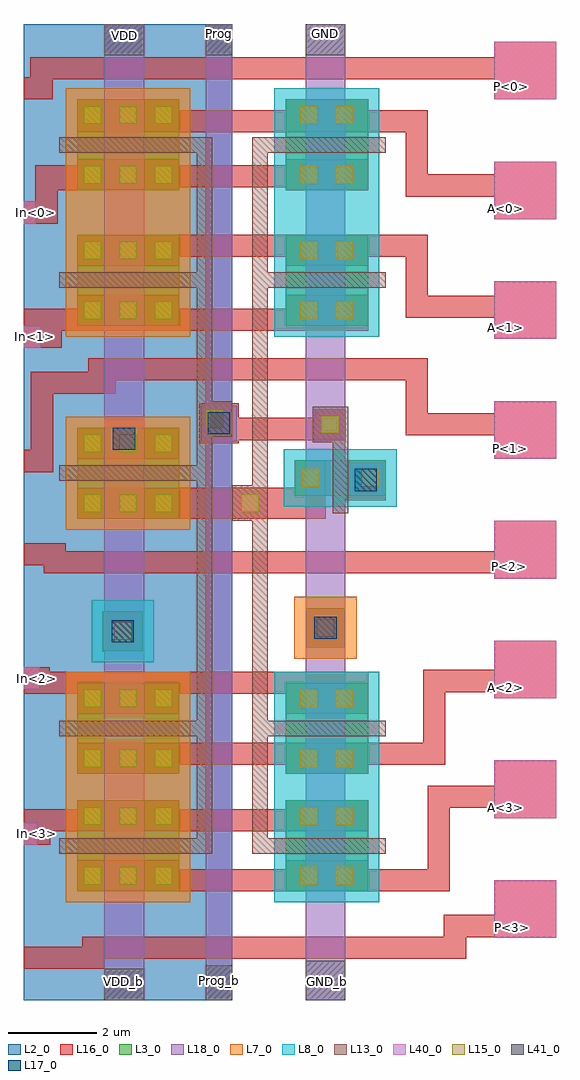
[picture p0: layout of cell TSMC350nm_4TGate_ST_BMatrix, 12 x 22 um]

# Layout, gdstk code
from math import pi, radians
import gdstk
lib = gdstk.Library(unit=1e-6, precision=1e-09)
def R(c, l, rs):  # rectangles x0, y0, x1, y1
    for r in rs: c.add(gdstk.rectangle(r[:2], r[2:], *l))
def A(c, l, x, y, w, h, nx, ny, dx, dy):  # array of equal rectangles
    R(c, l, [(x+i*dx, y+j*dy, x+i*dx+w, y+j*dy+h) for i in range(nx) for j in range(ny)])
L2_0 = (2, 0)
L3_0 = (3, 0)
L7_0 = (7, 0)
L8_0 = (8, 0)
L13_0 = (13, 0)
L15_0 = (15, 0)
L16_0 = (16, 0)
L17_0 = (17, 0)
L18_0 = (18, 0)
L40_0 = (40, 0)
L41_0 = (41, 0)

nch_cdns_745363897580 = lib.new_cell('nch_CDNS_745363897580')
R(nch_cdns_745363897580, L3_0, [(-0.85,0,-0.15,0.8), (-0.85,0,-0.15,0.8), (-0.15,0,0.5,0.8), (0.5,0,1.2,0.8), (0.5,0,1.2,0.8)])
R(nch_cdns_745363897580, L8_0, [(-1.1,-0.25,1.45,1.05)])
R(nch_cdns_745363897580, L13_0, [(0,-0.4,0.35,1.2)])
R(nch_cdns_745363897580, L15_0, [(-0.7,0.2,-0.3,0.6), (0.65,0.2,1.05,0.6)])
R(nch_cdns_745363897580, L16_0, [(-0.85,0,-0.15,0.8), (0.5,0,1.2,0.8)])
nch_cdns_745363897580.add(gdstk.Label('D', (0.85,0.4), layer=59, texttype=0))
nch_cdns_745363897580.add(gdstk.Label('S', (-0.5,0.4), layer=59, texttype=0))
nch_cdns_745363897580.add(gdstk.Label('G', (0.175,0.4), layer=59, texttype=0))
nch_cdns_745363897580.add(gdstk.Label('& SerialNumber 000000', (0,0), layer=16, texttype=0))
nch_cdns_745363897580.add(gdstk.Label('& Distributor VIS', (0,0), layer=16, texttype=0))
nch_cdns_745363897580.add(gdstk.Label('& Metric 1', (0,0), layer=16, texttype=0))
nch_cdns_745363897580.add(gdstk.Label('& Version    \t  1.7A', (0,0), layer=16, texttype=0))
nch_cdns_745363897580.add(gdstk.Label('& PDKName     vis35cv', (0,0), layer=16, texttype=0))
nch_cdns_745363897580.add(gdstk.Label('& Vendor VIS Corp.', (0,0), layer=16, texttype=0))
nch_cdns_745363897580.add(gdstk.Label('& SerialNumber 000000', (0,0), layer=63, texttype=63))
nch_cdns_745363897580.add(gdstk.Label('& Distributor VIS', (0,0), layer=63, texttype=63))
nch_cdns_745363897580.add(gdstk.Label('& Metric 1', (0,0), layer=63, texttype=63))
nch_cdns_745363897580.add(gdstk.Label('& Version    \t  1.7A', (0,0), layer=63, texttype=63))
nch_cdns_745363897580.add(gdstk.Label('& PDKName     vis35cv', (0,0), layer=63, texttype=63))
nch_cdns_745363897580.add(gdstk.Label('& Vendor VIS Corp.', (0,0), layer=63, texttype=63))

pch_cdns_745363897581 = lib.new_cell('pch_CDNS_745363897581')
R(pch_cdns_745363897581, L2_0, [(-2.05,-1.2,2.4,3.5)])
R(pch_cdns_745363897581, L3_0, [(-0.85,0,-0.15,2.3), (-0.85,0,-0.15,2.3), (-0.15,0,0.5,2.3), (0.5,0,1.2,2.3), (0.5,0,1.2,2.3)])
R(pch_cdns_745363897581, L7_0, [(-1.1,-0.25,1.45,2.55)])
R(pch_cdns_745363897581, L13_0, [(0,-0.4,0.35,2.7)])
A(pch_cdns_745363897581, L15_0, -0.7, 0.15, 0.4, 0.4, 1, 3, 0, 0.8)
A(pch_cdns_745363897581, L15_0, 0.65, 0.15, 0.4, 0.4, 1, 3, 0, 0.8)
R(pch_cdns_745363897581, L16_0, [(-0.85,0,-0.15,2.3), (0.5,0,1.2,2.3)])
pch_cdns_745363897581.add(gdstk.Label('D', (0.85,1.15), layer=59, texttype=0))
pch_cdns_745363897581.add(gdstk.Label('S', (-0.5,1.15), layer=59, texttype=0))
pch_cdns_745363897581.add(gdstk.Label('G', (0.175,1.15), layer=59, texttype=0))
pch_cdns_745363897581.add(gdstk.Label('& SerialNumber 000000', (0,0), layer=16, texttype=0))
pch_cdns_745363897581.add(gdstk.Label('& Distributor VIS', (0,0), layer=16, texttype=0))
pch_cdns_745363897581.add(gdstk.Label('& Metric 1', (0,0), layer=16, texttype=0))
pch_cdns_745363897581.add(gdstk.Label('& Version    \t  1.7A', (0,0), layer=16, texttype=0))
pch_cdns_745363897581.add(gdstk.Label('& PDKName     vis35cv', (0,0), layer=16, texttype=0))
pch_cdns_745363897581.add(gdstk.Label('& Vendor VIS Corp.', (0,0), layer=16, texttype=0))
pch_cdns_745363897581.add(gdstk.Label('& SerialNumber 000000', (0,0), layer=63, texttype=63))
pch_cdns_745363897581.add(gdstk.Label('& Distributor VIS', (0,0), layer=63, texttype=63))
pch_cdns_745363897581.add(gdstk.Label('& Metric 1', (0,0), layer=63, texttype=63))
pch_cdns_745363897581.add(gdstk.Label('& Version    \t  1.7A', (0,0), layer=63, texttype=63))
pch_cdns_745363897581.add(gdstk.Label('& PDKName     vis35cv', (0,0), layer=63, texttype=63))
pch_cdns_745363897581.add(gdstk.Label('& Vendor VIS Corp.', (0,0), layer=63, texttype=63))

nch_cdns_745363897582 = lib.new_cell('nch_CDNS_745363897582')
R(nch_cdns_745363897582, L3_0, [(-0.85,0,-0.15,1.86), (-0.85,0,-0.15,1.86), (-0.15,0,0.5,1.86), (0.5,0,1.2,1.86), (0.5,0,1.2,1.86)])
R(nch_cdns_745363897582, L8_0, [(-1.1,-0.25,1.45,2.11)])
R(nch_cdns_745363897582, L13_0, [(0,-0.4,0.35,2.26)])
R(nch_cdns_745363897582, L15_0, [(-0.7,0.33,-0.3,0.73), (0.65,0.33,1.05,0.73), (-0.7,1.13,-0.3,1.53), (0.65,1.13,1.05,1.53)])
R(nch_cdns_745363897582, L16_0, [(-0.85,0,-0.15,1.86), (0.5,0,1.2,1.86)])
nch_cdns_745363897582.add(gdstk.Label('D', (0.85,0.93), layer=59, texttype=0))
nch_cdns_745363897582.add(gdstk.Label('S', (-0.5,0.93), layer=59, texttype=0))
nch_cdns_745363897582.add(gdstk.Label('G', (0.175,0.93), layer=59, texttype=0))
nch_cdns_745363897582.add(gdstk.Label('& SerialNumber 000000', (0,0), layer=16, texttype=0))
nch_cdns_745363897582.add(gdstk.Label('& Distributor VIS', (0,0), layer=16, texttype=0))
nch_cdns_745363897582.add(gdstk.Label('& Metric 1', (0,0), layer=16, texttype=0))
nch_cdns_745363897582.add(gdstk.Label('& Version    \t  1.7A', (0,0), layer=16, texttype=0))
nch_cdns_745363897582.add(gdstk.Label('& PDKName     vis35cv', (0,0), layer=16, texttype=0))
nch_cdns_745363897582.add(gdstk.Label('& Vendor VIS Corp.', (0,0), layer=16, texttype=0))
nch_cdns_745363897582.add(gdstk.Label('& SerialNumber 000000', (0,0), layer=63, texttype=63))
nch_cdns_745363897582.add(gdstk.Label('& Distributor VIS', (0,0), layer=63, texttype=63))
nch_cdns_745363897582.add(gdstk.Label('& Metric 1', (0,0), layer=63, texttype=63))
nch_cdns_745363897582.add(gdstk.Label('& Version    \t  1.7A', (0,0), layer=63, texttype=63))
nch_cdns_745363897582.add(gdstk.Label('& PDKName     vis35cv', (0,0), layer=63, texttype=63))
nch_cdns_745363897582.add(gdstk.Label('& Vendor VIS Corp.', (0,0), layer=63, texttype=63))

m1_nactive_cdns_74536389 = lib.new_cell('M1_NACTIVE_CDNS_745363897580')
R(m1_nactive_cdns_74536389, L3_0, [(-0.45,-0.45,0.45,0.45)])
R(m1_nactive_cdns_74536389, L8_0, [(-0.7,-0.7,0.7,0.7)])
R(m1_nactive_cdns_74536389, L15_0, [(-0.2,-0.2,0.2,0.2)])
R(m1_nactive_cdns_74536389, L16_0, [(-0.35,-0.35,0.35,0.35)])

m2_m1_cdns_745363897581 = lib.new_cell('M2_M1_CDNS_745363897581')
R(m2_m1_cdns_745363897581, L16_0, [(-0.45,-0.45,0.45,0.45)])
R(m2_m1_cdns_745363897581, L17_0, [(-0.25,-0.25,0.25,0.25)])
R(m2_m1_cdns_745363897581, L18_0, [(-0.4,-0.4,0.4,0.4)])

m1_poly1_cdns_7453638975 = lib.new_cell('M1_POLY1_CDNS_745363897582')
R(m1_poly1_cdns_7453638975, L13_0, [(-0.4,-0.4,0.4,0.4)])
R(m1_poly1_cdns_7453638975, L15_0, [(-0.2,-0.2,0.2,0.2)])
R(m1_poly1_cdns_7453638975, L16_0, [(-0.35,-0.35,0.35,0.35)])

m1_pactive_cdns_74536389 = lib.new_cell('M1_PACTIVE_CDNS_745363897583')
R(m1_pactive_cdns_74536389, L3_0, [(-0.45,-0.45,0.45,0.45)])
R(m1_pactive_cdns_74536389, L7_0, [(-0.7,-0.7,0.7,0.7)])
R(m1_pactive_cdns_74536389, L15_0, [(-0.2,-0.2,0.2,0.2)])
R(m1_pactive_cdns_74536389, L16_0, [(-0.35,-0.35,0.35,0.35)])

tsmc350nm_4tgate_st_bmat = lib.new_cell('TSMC350nm_4TGate_ST_BMatrix')
R(tsmc350nm_4tgate_st_bmat, L2_0, [(0,0,4.7,1.47), (0,8.35,4.7,14.4), (0,19.25,4.7,22)])
R(tsmc350nm_4tgate_st_bmat, L7_0, [(0.95,4.75,3.75,4.85), (0.95,17.5,3.75,18)])
R(tsmc350nm_4tgate_st_bmat, L8_0, [(5.65,4.75,8.01,4.85), (5.65,17.5,8.01,18)])
R(tsmc350nm_4tgate_st_bmat, L13_0, [(3.9,3.3,4.25,11.86), (5.15,3.3,5.5,11.79), (5.15,11.79,5.5,19.45), (3.9,11.86,4.25,19.45)])
A(tsmc350nm_4tgate_st_bmat, L16_0, 10.6, 1.4, 1.4, 1.3, 1, 8, 0, 2.7)
R(tsmc350nm_4tgate_st_bmat, L16_0, [(0,3.5,0.6,3.8), (0,7.4,0.59,7.5), (1.45,13.66,2.07,14.47), (0,14.7,0.85,15.08), (0.76,18.25,1.2,18.32)])
R(tsmc350nm_4tgate_st_bmat, L18_0, [(7.25,11.32,7.51,12.12)])
A(tsmc350nm_4tgate_st_bmat, L40_0, 10.6, 1.4, 1.4, 1.3, 1, 8, 0, 2.7)
R(tsmc350nm_4tgate_st_bmat, L40_0, [(0,3.5,0.3,4), (0,7,0.36,7.5), (0,14.7,0.38,15.2), (0,17.5,0.27,18)])
R(tsmc350nm_4tgate_st_bmat, L41_0, [(1.81,0,2.71,0.71), (4.1,0,4.7,0.78), (6.35,0,7.25,0.88), (1.81,21.3,2.71,22), (4.1,21.3,4.7,22), (6.35,21.3,7.25,22)])
tsmc350nm_4tgate_st_bmat.add(gdstk.FlexPath([(10.61,18.36),(8.86,18.36)], 0.5, ends=(0, 0.25), simple_path=True, layer=16, datatype=0))  # L16_0
tsmc350nm_4tgate_st_bmat.add(gdstk.FlexPath([(8.86,18.36),(8.86,19.81)], 0.5, ends="extended", simple_path=True, layer=16, datatype=0))  # L16_0
tsmc350nm_4tgate_st_bmat.add(gdstk.FlexPath([(8.86,15.63),(10.6,15.63)], 0.5, ends=(0.25, 0), simple_path=True, layer=16, datatype=0))  # L16_0
tsmc350nm_4tgate_st_bmat.add(gdstk.FlexPath([(3.42,11.2),(6.81,11.2)], 0.7, ends="flush", simple_path=True, layer=16, datatype=0))  # L16_0
tsmc350nm_4tgate_st_bmat.add(gdstk.FlexPath([(4.2,12.87),(4.2,12.91)], 0.5, ends=(0.25, 0), simple_path=True, layer=16, datatype=0))  # L16_0
tsmc350nm_4tgate_st_bmat.add(gdstk.FlexPath([(7.21,12.87),(4.2,12.87)], 0.5, ends=(0, 0.25), simple_path=True, layer=16, datatype=0))  # L16_0
tsmc350nm_4tgate_st_bmat.add(gdstk.FlexPath([(0.51,17.75),(0.51,18.57)], 0.5, ends="extended", simple_path=True, layer=16, datatype=0))  # L16_0
tsmc350nm_4tgate_st_bmat.add(gdstk.FlexPath([(0,17.75),(0.51,17.75)], 0.5, ends=(0, 0.25), simple_path=True, layer=16, datatype=0))  # L16_0
tsmc350nm_4tgate_st_bmat.add(gdstk.FlexPath([(0.51,18.57),(1.2,18.57)], 0.5, ends=(0.25, 0), simple_path=True, layer=16, datatype=0))  # L16_0
tsmc350nm_4tgate_st_bmat.add(gdstk.FlexPath([(8.86,14.22),(1.81,14.22)], 0.5, ends=(0.25, 0), simple_path=True, layer=16, datatype=0))  # L16_0
tsmc350nm_4tgate_st_bmat.add(gdstk.FlexPath([(0.41,12.15),(0.41,13.91)], 0.5, ends="extended", simple_path=True, layer=16, datatype=0))  # L16_0
tsmc350nm_4tgate_st_bmat.add(gdstk.FlexPath([(0.7,9.87),(10.6,9.87)], 0.5, ends=(0.25, 0), simple_path=True, layer=16, datatype=0))  # L16_0
tsmc350nm_4tgate_st_bmat.add(gdstk.FlexPath([(0,12.15),(0.41,12.15)], 0.5, ends=(0, 0.25), simple_path=True, layer=16, datatype=0))  # L16_0
tsmc350nm_4tgate_st_bmat.add(gdstk.FlexPath([(10.6,21),(0.4,21)], 0.5, ends=(0, 0.25), simple_path=True, layer=16, datatype=0))  # L16_0
tsmc350nm_4tgate_st_bmat.add(gdstk.FlexPath([(0,20.55),(0.4,20.55)], 0.5, ends=(0, 0.25), simple_path=True, layer=16, datatype=0))  # L16_0
tsmc350nm_4tgate_st_bmat.add(gdstk.FlexPath([(0.4,20.55),(0.4,21)], 0.5, ends="extended", simple_path=True, layer=16, datatype=0))  # L16_0
tsmc350nm_4tgate_st_bmat.add(gdstk.FlexPath([(0.4,21),(0.15,21)], 0.5, ends=(0.25, 0), simple_path=True, layer=16, datatype=0))  # L16_0
tsmc350nm_4tgate_st_bmat.add(gdstk.FlexPath([(0.4,21),(0.4,21.25)], 0.5, ends=(0.25, 0), simple_path=True, layer=16, datatype=0))  # L16_0
tsmc350nm_4tgate_st_bmat.add(gdstk.FlexPath([(0,0.95),(1.57,0.95)], 0.5, ends=(0, 0.25), simple_path=True, layer=16, datatype=0))  # L16_0
tsmc350nm_4tgate_st_bmat.add(gdstk.FlexPath([(1.57,0.95),(1.57,1.18)], 0.5, ends="extended", simple_path=True, layer=16, datatype=0))  # L16_0
tsmc350nm_4tgate_st_bmat.add(gdstk.FlexPath([(1.57,1.18),(9.72,1.18)], 0.5, ends="extended", simple_path=True, layer=16, datatype=0))  # L16_0
tsmc350nm_4tgate_st_bmat.add(gdstk.FlexPath([(0.41,13.91),(1.81,13.91)], 0.5, ends=(0.25, 0), simple_path=True, layer=16, datatype=0))  # L16_0
tsmc350nm_4tgate_st_bmat.add(gdstk.FlexPath([(0,10.05),(0.7,10.05)], 0.5, ends=(0, 0.25), simple_path=True, layer=16, datatype=0))  # L16_0
tsmc350nm_4tgate_st_bmat.add(gdstk.FlexPath([(0.7,10.05),(0.7,9.87)], 0.5, ends="extended", simple_path=True, layer=16, datatype=0))  # L16_0
tsmc350nm_4tgate_st_bmat.add(gdstk.FlexPath([(9.72,1.18),(9.72,1.67)], 0.5, ends="extended", simple_path=True, layer=16, datatype=0))  # L16_0
tsmc350nm_4tgate_st_bmat.add(gdstk.FlexPath([(9.72,1.67),(10.6,1.67)], 0.5, ends=(0.25, 0), simple_path=True, layer=16, datatype=0))  # L16_0
tsmc350nm_4tgate_st_bmat.add(gdstk.FlexPath([(0,15.33),(7.76,15.33)], 0.5, ends="flush", simple_path=True, layer=16, datatype=0))  # L16_0
tsmc350nm_4tgate_st_bmat.add(gdstk.FlexPath([(9.35,2.7),(9.35,4.58)], 0.5, ends="extended", simple_path=True, layer=16, datatype=0))  # L16_0
tsmc350nm_4tgate_st_bmat.add(gdstk.FlexPath([(1.2,18.57),(7.76,18.57)], 0.5, ends="flush", simple_path=True, layer=16, datatype=0))  # L16_0
tsmc350nm_4tgate_st_bmat.add(gdstk.FlexPath([(0,7.15),(7.76,7.15)], 0.5, ends="flush", simple_path=True, layer=16, datatype=0))  # L16_0
tsmc350nm_4tgate_st_bmat.add(gdstk.FlexPath([(1.2,2.7),(9.35,2.7)], 0.5, ends=(0, 0.25), simple_path=True, layer=16, datatype=0))  # L16_0
tsmc350nm_4tgate_st_bmat.add(gdstk.FlexPath([(9.35,4.58),(10.6,4.58)], 0.5, ends=(0.25, 0), simple_path=True, layer=16, datatype=0))  # L16_0
tsmc350nm_4tgate_st_bmat.add(gdstk.FlexPath([(9.25,5.55),(9.25,7.19)], 0.5, ends="extended", simple_path=True, layer=16, datatype=0))  # L16_0
tsmc350nm_4tgate_st_bmat.add(gdstk.FlexPath([(9.25,7.19),(10.6,7.19)], 0.5, ends=(0.25, 0), simple_path=True, layer=16, datatype=0))  # L16_0
tsmc350nm_4tgate_st_bmat.add(gdstk.FlexPath([(8.86,19.81),(1.2,19.81)], 0.5, ends=(0.25, 0), simple_path=True, layer=16, datatype=0))  # L16_0
tsmc350nm_4tgate_st_bmat.add(gdstk.FlexPath([(1.2,17),(8.86,17)], 0.5, ends=(0, 0.25), simple_path=True, layer=16, datatype=0))  # L16_0
tsmc350nm_4tgate_st_bmat.add(gdstk.FlexPath([(8.86,12.98),(8.86,14.22)], 0.5, ends="extended", simple_path=True, layer=16, datatype=0))  # L16_0
tsmc350nm_4tgate_st_bmat.add(gdstk.FlexPath([(1.2,5.55),(9.25,5.55)], 0.5, ends=(0, 0.25), simple_path=True, layer=16, datatype=0))  # L16_0
tsmc350nm_4tgate_st_bmat.add(gdstk.FlexPath([(10.6,12.98),(8.86,12.98)], 0.5, ends=(0, 0.25), simple_path=True, layer=16, datatype=0))  # L16_0
tsmc350nm_4tgate_st_bmat.add(gdstk.FlexPath([(8.86,17),(8.86,15.63)], 0.5, ends="extended", simple_path=True, layer=16, datatype=0))  # L16_0
tsmc350nm_4tgate_st_bmat.add(gdstk.FlexPath([(0,4.05),(7.76,4.05)], 0.5, ends="flush", simple_path=True, layer=16, datatype=0))  # L16_0
tsmc350nm_4tgate_st_bmat.add(gdstk.FlexPath([(4.4,0),(4.4,22)], 0.6, ends="flush", simple_path=True, layer=18, datatype=0))  # L18_0
tsmc350nm_4tgate_st_bmat.add(gdstk.FlexPath([(2.26,0),(2.26,22)], 0.9, ends="flush", simple_path=True, layer=18, datatype=0))  # L18_0
tsmc350nm_4tgate_st_bmat.add(gdstk.FlexPath([(6.8,0),(6.8,22)], 0.9, ends="flush", simple_path=True, layer=18, datatype=0))  # L18_0
tsmc350nm_4tgate_st_bmat.add(gdstk.Reference(nch_cdns_745363897580, (6.96,11.37)))
tsmc350nm_4tgate_st_bmat.add(gdstk.Reference(pch_cdns_745363897581, (3.5,11.7), rotation=pi/2))
tsmc350nm_4tgate_st_bmat.add(gdstk.Reference(pch_cdns_745363897581, (1.2,5.95), rotation=pi/2, x_reflection=True))
tsmc350nm_4tgate_st_bmat.add(gdstk.Reference(pch_cdns_745363897581, (1.2,3.3), rotation=pi/2, x_reflection=True))
tsmc350nm_4tgate_st_bmat.add(gdstk.Reference(pch_cdns_745363897581, (1.2,16.05), rotation=pi/2, x_reflection=True))
tsmc350nm_4tgate_st_bmat.add(gdstk.Reference(pch_cdns_745363897581, (1.2,19.1), rotation=pi/2, x_reflection=True))
tsmc350nm_4tgate_st_bmat.add(gdstk.Reference(nch_cdns_745363897582, (5.9,3.3), rotation=pi/2, x_reflection=True))
tsmc350nm_4tgate_st_bmat.add(gdstk.Reference(nch_cdns_745363897582, (5.9,5.95), rotation=pi/2, x_reflection=True))
tsmc350nm_4tgate_st_bmat.add(gdstk.Reference(nch_cdns_745363897582, (5.9,16.05), rotation=pi/2, x_reflection=True))
tsmc350nm_4tgate_st_bmat.add(gdstk.Reference(nch_cdns_745363897582, (5.9,19.1), rotation=pi/2, x_reflection=True))
tsmc350nm_4tgate_st_bmat.add(gdstk.Reference(m1_nactive_cdns_74536389, (2.23,8.31)))
tsmc350nm_4tgate_st_bmat.add(gdstk.Reference(m2_m1_cdns_745363897581, (7.71,11.72)))
tsmc350nm_4tgate_st_bmat.add(gdstk.Reference(m2_m1_cdns_745363897581, (4.4,13)))
tsmc350nm_4tgate_st_bmat.add(gdstk.Reference(m2_m1_cdns_745363897581, (2.23,8.31)))
tsmc350nm_4tgate_st_bmat.add(gdstk.Reference(m2_m1_cdns_745363897581, (6.8,8.39)))
tsmc350nm_4tgate_st_bmat.add(gdstk.Reference(m2_m1_cdns_745363897581, (2.26,12.65)))
tsmc350nm_4tgate_st_bmat.add(gdstk.Reference(m1_poly1_cdns_7453638975, (5.1,11.2)))
tsmc350nm_4tgate_st_bmat.add(gdstk.Reference(m1_poly1_cdns_7453638975, (6.91,12.97)))
tsmc350nm_4tgate_st_bmat.add(gdstk.Reference(m1_poly1_cdns_7453638975, (4.3,13.1)))
tsmc350nm_4tgate_st_bmat.add(gdstk.Reference(m1_pactive_cdns_74536389, (6.8,8.39)))
tsmc350nm_4tgate_st_bmat.add(gdstk.Label('In<0>', (0.26,17.75), layer=40, texttype=0))
tsmc350nm_4tgate_st_bmat.add(gdstk.Label('In<1>', (0.24,14.96), layer=40, texttype=0))
tsmc350nm_4tgate_st_bmat.add(gdstk.Label('In<2>', (0.29,7.25), layer=40, texttype=0))
tsmc350nm_4tgate_st_bmat.add(gdstk.Label('In<3>', (0.29,3.75), layer=40, texttype=0))
tsmc350nm_4tgate_st_bmat.add(gdstk.Label('A<0>', (10.86,17.85), layer=40, texttype=0))
tsmc350nm_4tgate_st_bmat.add(gdstk.Label('A<1>', (10.86,15.15), layer=40, texttype=0))
tsmc350nm_4tgate_st_bmat.add(gdstk.Label('A<2>', (10.85,7.05), layer=40, texttype=0))
tsmc350nm_4tgate_st_bmat.add(gdstk.Label('A<3>', (10.85,4.35), layer=40, texttype=0))
tsmc350nm_4tgate_st_bmat.add(gdstk.Label('P<0>', (10.99,20.59), layer=40, texttype=0))
tsmc350nm_4tgate_st_bmat.add(gdstk.Label('P<1>', (10.98,12.43), layer=40, texttype=0))
tsmc350nm_4tgate_st_bmat.add(gdstk.Label('P<2>', (10.94,9.77), layer=40, texttype=0))
tsmc350nm_4tgate_st_bmat.add(gdstk.Label('P<3>', (11.01,1.63), layer=40, texttype=0))
tsmc350nm_4tgate_st_bmat.add(gdstk.Label('GND_b', (6.84,0.42), layer=41, texttype=0))
tsmc350nm_4tgate_st_bmat.add(gdstk.Label('Prog_b', (4.42,0.45), layer=41, texttype=0))
tsmc350nm_4tgate_st_bmat.add(gdstk.Label('VDD_b', (2.24,0.41), layer=41, texttype=0))
tsmc350nm_4tgate_st_bmat.add(gdstk.Label('Prog', (4.4,21.78), layer=41, texttype=0))
tsmc350nm_4tgate_st_bmat.add(gdstk.Label('VDD', (2.26,21.75), layer=41, texttype=0))
tsmc350nm_4tgate_st_bmat.add(gdstk.Label('GND', (6.8,21.78), layer=41, texttype=0))

lib.write_gds('TSMC350nm_4TGate_ST_BMatrix.gds')
